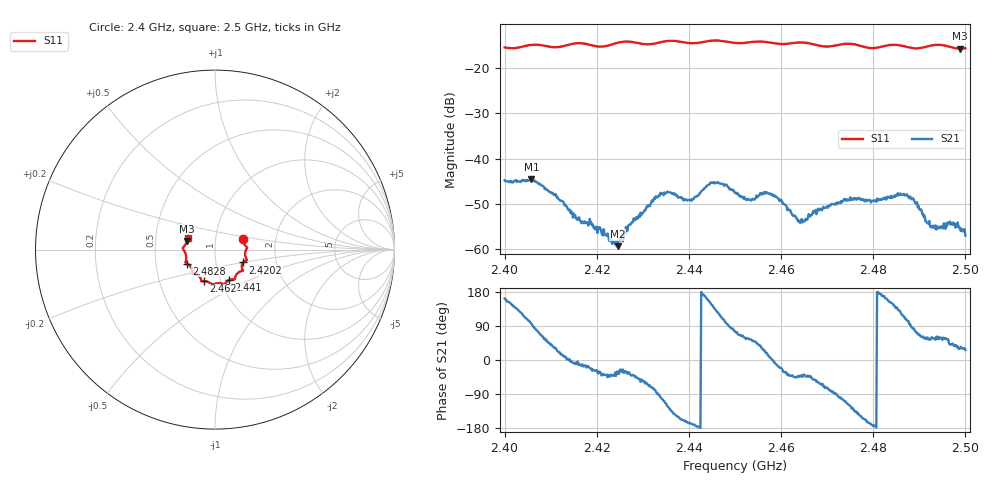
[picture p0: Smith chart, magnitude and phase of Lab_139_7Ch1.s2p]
# Hz S RI R 50
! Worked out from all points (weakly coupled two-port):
!   601 points, 2.4 GHz to 2.5 GHz, reference 50 ohm
!   highest |S21| = -44.61 dB at 2.4058 GHz (marker M1); lowest = -59.3 dB at 2.4245 GHz (marker M2)
!   lowest |S11| = -15.8 dB at 2.4988 GHz (marker M3), VSWR 1.39, Z = 36.4 + j3.42 ohm
!   |S11| at or under -10 dB: start of sweep to end of sweep
!   S12 and S22 are empty: the file has one direction only
!   S11 on the Smith chart (normalised r, x): 2.4 GHz: 1.36, +0.17; 2.4202 GHz: 1.35, -0.20; 2.441 GHz: 1.10, -0.39; 2.462 GHz: 0.83, -0.30; 2.4828 GHz: 0.72, -0.12; 2.5 GHz: 0.73, +0.09
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2.4e9  0.1568 0.061  -0.00547 0.00177  0 0  0 0
2.405833e9  0.1789 0.0131  -0.000473 0.00586  0 0  0 0
2.410833e9  0.1683 -0.0165  0.00347 0.00209  0 0  0 0
2.416667e9  0.1774 -0.0592  0.00187 -0.000469  0 0  0 0
2.420167e9  0.1566 -0.0719  0.00126 -0.000837  0 0  0 0
2.4245e9  0.1536 -0.1106  0.000936 -0.000536  0 0  0 0
2.433333e9  0.1128 -0.152  5.8e-05 -0.00381  0 0  0 0
2.441e9  0.077 -0.1705  -0.00351 -0.000562  0 0  0 0
2.445167e9  0.0532 -0.1931  -0.00437 0.00323  0 0  0 0
2.45e9  0.0271 -0.1867  0.000999 0.00406  0 0  0 0
2.453e9  -0.000466 -0.1914  0.00196 0.0029  0 0  0 0
2.457167e9  -0.02 -0.1908  0.00401 0.00086  0 0  0 0
2.462e9  -0.0615 -0.176  0.00201 -0.00179  0 0  0 0
2.464167e9  -0.0733 -0.1762  0.00144 -0.0013  0 0  0 0
2.466667e9  -0.0773 -0.1673  0.00159 -0.00178  0 0  0 0
2.473833e9  -0.1243 -0.1359  -0.00114 -0.0033  0 0  0 0
2.482833e9  -0.1581 -0.0775  -0.00335 0.00108  0 0  0 0
2.483333e9  -0.161 -0.0762  -0.00343 0.00159  0 0  0 0
2.488333e9  -0.1598 -0.0445  0.000249 0.00354  0 0  0 0
2.492833e9  -0.1774 0.00288  0.000906 0.00147  0 0  0 0
2.498833e9  -0.1562 0.0458  0.00149 0.000864  0 0  0 0
2.5e9  -0.1532 0.062  0.00126 0.000628  0 0  0 0
